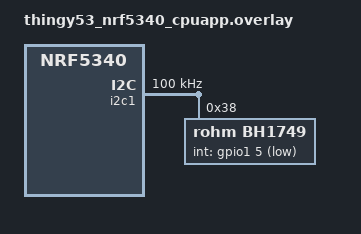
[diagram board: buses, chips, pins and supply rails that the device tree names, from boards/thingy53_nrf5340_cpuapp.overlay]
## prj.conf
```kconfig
#
# Copyright (c) 2016 Intel Corporation
#
# SPDX-License-Identifier: Apache-2.0
#

# STEP 2 - Enable the I2C driver
CONFIG_I2C=y

# disable logging for TF-M
CONFIG_TFM_SECURE_UART=n
CONFIG_TFM_LOG_LEVEL_SILENCE=y

# STEP 4.2 - Enable floating point format specifiers
CONFIG_CBPRINTF_FP_SUPPORT=y
CONFIG_SENSOR=y
```

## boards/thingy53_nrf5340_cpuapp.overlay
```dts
/*
 * Copyright (c) 2021 Nordic Semiconductor ASA
 *
 * SPDX-License-Identifier: LicenseRef-Nordic-5-Clause
 */

&i2c1 {
    compatible = "nordic,nrf-twim";
    status = "okay";
    clock-frequency = <I2C_BITRATE_STANDARD>;
    bh1749: bh1749@38 {
        compatible = "rohm,bh1749";
        label = "BH1749";
        reg = <0x38>;
        int-gpios = <&gpio1 5 (GPIO_PULL_UP | GPIO_ACTIVE_LOW)>;
    };
};
```

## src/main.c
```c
/*
 * Copyright (c) 2016 Intel Corporation
 *
 * SPDX-License-Identifier: Apache-2.0
 */

#include <zephyr/kernel.h>
#include <zephyr/device.h>
#include <zephyr/devicetree.h>

//#include <zephyr/zephyr.h>
#include <zephyr/drivers/sensor.h>

/* STEP 3 - Include the header file of the I2C API */
#include <zephyr/drivers/i2c.h>

/* STEP 4.1 - Include the header file of printk() */
#include <zephyr/sys/printk.h>

/* 1000 msec = 1 sec */
#define SLEEP_TIME_MS   1000

/* STEP 8 - Define the the addresses of relevant sensor registers and settings */
#define BH1749_SYSTEM_CONTROL                           0x40
#define BH1749_MODE_CONTROL1                            0x41
#define BH1749_MODE_CONTROL2                            0x42
#define BH1749_RED_DATA_LSB                             0x50
#define BH1749_IR_DATA_LSB                             	0x58
#define BH1749_MODE_CONTROL2_RGB_EN_ENABLE              BIT(4)
#define BH1749_MODE_CONTROL1_DEFAULTS                   0x2A

/* STEP 6 - Get the node identifier of the sensor */
#define I2C_NODE DT_NODELABEL(bh1749)


int main(void)
{

	int ret;

	printk("BH1749 Example Thingy:53! %s\n", CONFIG_BOARD);

/* STEP 7 - Retrieve the API-specific device structure and make sure that the device is ready to use  */
	static const struct i2c_dt_spec dev_i2c = I2C_DT_SPEC_GET(I2C_NODE);
	if (!device_is_ready(dev_i2c.bus)) {
		printk("I2C bus %s is not ready!\n\r",dev_i2c.bus->name);
		return -1;
	}


/* STEP 9 - Setup the sensor by writing the value 0x2A to the MODE_CONTROL1 register 
0x2A Means : IR Gain: 1x, RGB Gain: 1x, Measurement mode: 120ms mode
*/
	char buff1[] = {BH1749_MODE_CONTROL1,BH1749_MODE_CONTROL1_DEFAULTS};
	ret = i2c_write_dt(&dev_i2c,buff1,sizeof(buff1));
	if(ret != 0){
		printk("Failed to write to I2C device address 0x%c at Reg. 0x%c\n",dev_i2c.addr,BH1749_MODE_CONTROL1);
	}

/* STEP 10 - Enable measurement by writing 1 to bit 4 of the MODE_CONTROL2 register */
	char buff2[] = {BH1749_MODE_CONTROL2,BH1749_MODE_CONTROL2_RGB_EN_ENABLE};
	ret = i2c_write_dt(&dev_i2c,buff2,sizeof(buff2));
	if(ret != 0){
		printk("Failed to write to I2C device address 0x%c at Reg. 0x%c\n",dev_i2c.addr,BH1749_MODE_CONTROL2);
	}

	while (1) {
/* STEP 11 - Read the RGB values from the sensor */
		uint8_t rgb_value[10]= {0};
		//Do a burst read of 6 bytes as each color channel is 2 bytes
		ret = i2c_burst_read_dt(&dev_i2c, BH1749_RED_DATA_LSB,rgb_value,sizeof(rgb_value));
		if(ret != 0){
			printk("Failed to read to I2C device address 0x%c at Reg. 0x%c\n",dev_i2c.addr,BH1749_RED_DATA_LSB);
			}
		//Print reading to console  
		printk("_______________________________\n");
		printk("Red Value:\t %d\n", (rgb_value[0] | rgb_value[1] << 8));
		printk("Green Value:\t %d\n", (rgb_value[2] | rgb_value[3] << 8));
		printk("Blue Value:\t %d\n", (rgb_value[4] | rgb_value[5] << 8));
		printk("IR Value:\t %d\n", rgb_value[8] | rgb_value[9] << 8);
			
		k_msleep(SLEEP_TIME_MS);
	}
}
```
